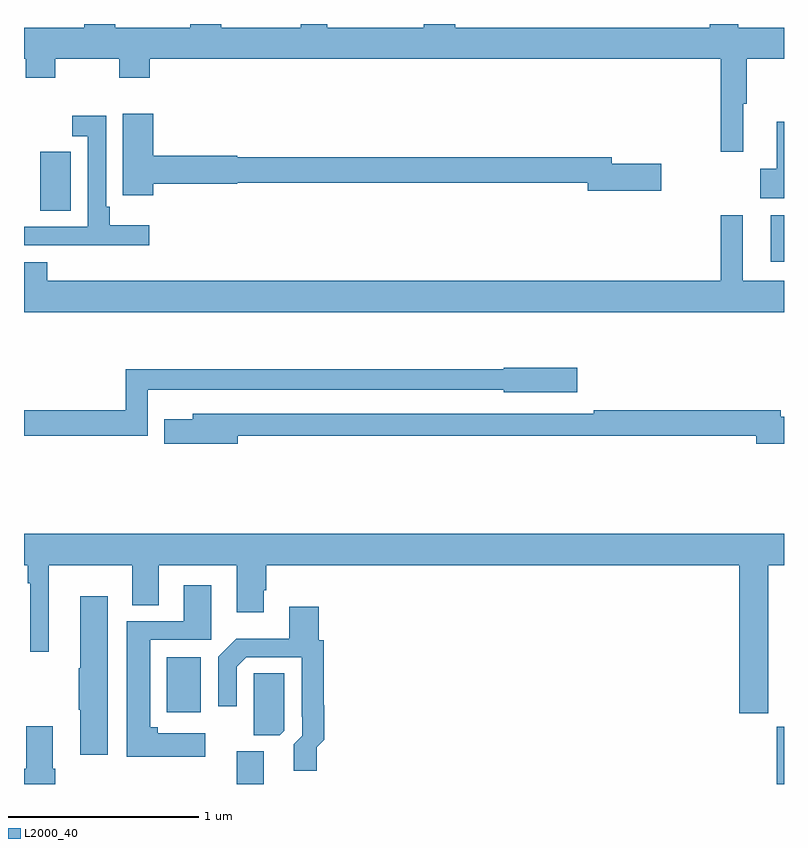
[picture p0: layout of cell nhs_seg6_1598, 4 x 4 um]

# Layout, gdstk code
import gdstk
lib = gdstk.Library(unit=1e-6, precision=1e-09)
def R(c, l, rs):  # rectangles x0, y0, x1, y1
    for r in rs: c.add(gdstk.rectangle(r[:2], r[2:], *l))
def P(c, l, *ps):  # polygons
    for p in ps: c.add(gdstk.Polygon(p, *l))
L2000_40 = (2000, 40)

nhs_seg6_1598 = lib.new_cell('nhs_seg6_1598')
R(nhs_seg6_1598, L2000_40, [(208.121,963.5,208.261,963.672), (210.962,963.5,211,963.801), (207.752,963.878,207.931,964.168), (210.929,966.248,211,966.493), (207.086,966.517,207.247,966.828)])
P(nhs_seg6_1598, L2000_40, [(210.785,967.08),(210.803,967.08),(210.803,967.316),(211,967.316),(211,967.48),(210.759,967.48),(210.759,967.5),(210.608,967.5),(210.608,967.48),(209.269,967.48),(209.269,967.5),(209.105,967.5),(209.105,967.48),(208.595,967.48),(208.595,967.5),(208.457,967.5),(208.457,967.48),(208.039,967.48),(208.039,967.5),(207.875,967.5),(207.875,967.48),(207.481,967.48),(207.481,967.5),(207.317,967.5),(207.317,967.48),(207,967.48),(207,967.316),(207.01,967.316),(207.01,967.217),(207.165,967.217),(207.165,967.316),(207.502,967.316),(207.502,967.217),(207.662,967.217),(207.662,967.316),(210.667,967.316),(210.667,966.828),(210.785,966.828)],
  [(207.68,966.659),(208.122,966.659),(208.122,966.664),(209.966,966.664),(209.966,966.622),(210.355,966.622),(210.355,966.764),(210.094,966.764),(210.094,966.8),(208.122,966.8),(208.122,966.806),(207.68,966.806),(207.68,967.027),(207.521,967.027),(207.521,966.6),(207.68,966.6)],
  [(207.658,966.442),(207.452,966.442),(207.452,966.538),(207.432,966.538),(207.432,967.018),(207.255,967.018),(207.255,966.909),(207.336,966.909),(207.336,966.432),(207,966.432),(207,966.336),(207.239,966.336),(207.239,966.335),(207.658,966.335)],
  [(211,966.985),(210.962,966.985),(210.962,966.737),(210.876,966.737),(210.876,966.584),(211,966.584)],
  [(211,966.148),(210.784,966.148),(210.784,966.493),(210.667,966.493),(210.667,966.148),(207.122,966.148),(207.122,966.247),(207,966.247),(207,965.984),(211,965.984)],
  [(207.651,965.574),(209.526,965.574),(209.526,965.561),(209.911,965.561),(209.911,965.691),(209.526,965.691),(209.526,965.683),(207.535,965.683),(207.535,965.468),(207,965.468),(207,965.332),(207.651,965.332)],
  [(208.126,965.332),(210.854,965.332),(210.854,965.29),(211,965.29),(211,965.432),(210.982,965.432),(210.982,965.468),(209.998,965.468),(209.998,965.448),(207.887,965.448),(207.887,965.419),(207.738,965.419),(207.738,965.29),(208.126,965.29)],
  [(210.916,964.652),(211,964.652),(211,964.816),(207,964.816),(207,964.652),(207.02,964.652),(207.02,964.556),(207.033,964.556),(207.033,964.197),(207.13,964.197),(207.13,964.652),(207.569,964.652),(207.569,964.441),(207.709,964.441),(207.709,964.652),(208.121,964.652),(208.121,964.404),(208.261,964.404),(208.261,964.519),(208.274,964.519),(208.274,964.652),(210.764,964.652),(210.764,963.873),(210.916,963.873)],
  [(207.955,963.766),(207.705,963.766),(207.705,963.798),(207.664,963.798),(207.664,964.26),(207.985,964.26),(207.985,964.546),(207.842,964.546),(207.842,964.356),(207.542,964.356),(207.542,963.644),(207.955,963.644)],
  [(207.442,964.489),(207.296,964.489),(207.296,964.109),(207.289,964.109),(207.289,963.892),(207.296,963.892),(207.296,963.654),(207.442,963.654)],
  [(208.541,963.693),(208.58,963.732),(208.58,963.914),(208.577,963.914),(208.577,964.257),(208.55,964.257),(208.55,964.432),(208.397,964.432),(208.397,964.264),(208.117,964.264),(208.023,964.17),(208.023,963.909),(208.119,963.909),(208.119,964.116),(208.17,964.167),(208.461,964.167),(208.461,963.853),(208.464,963.853),(208.464,963.753),(208.421,963.71),(208.421,963.57),(208.541,963.57)],
  [(208.371,963.78),(208.371,964.082),(208.209,964.082),(208.209,963.971),(208.208,963.971),(208.208,963.757),(208.347,963.757)],
  [(207.164,963.58),(207.151,963.58),(207.151,963.805),(207.011,963.805),(207.011,963.58),(207,963.58),(207,963.5),(207.164,963.5)])

lib.write_gds('nhs_seg6_1598.gds')
